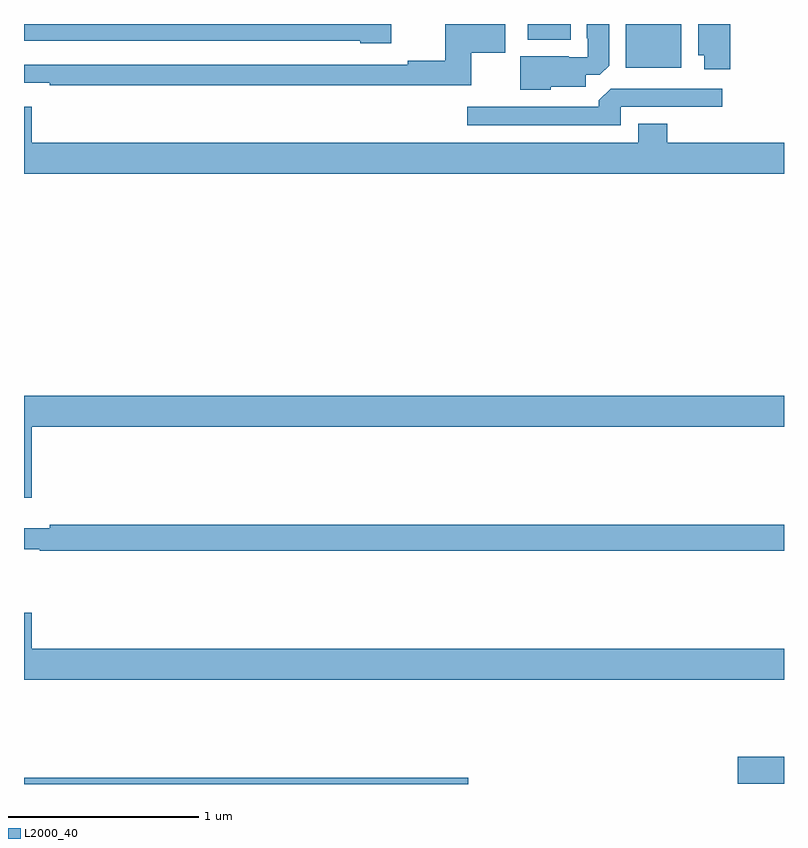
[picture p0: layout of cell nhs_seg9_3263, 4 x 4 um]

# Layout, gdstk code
import gdstk
lib = gdstk.Library(unit=1e-6, precision=1e-09)
def R(c, l, rs):  # rectangles x0, y0, x1, y1
    for r in rs: c.add(gdstk.rectangle(r[:2], r[2:], *l))
def P(c, l, *ps):  # polygons
    for p in ps: c.add(gdstk.Polygon(p, *l))
L2000_40 = (2000, 40)

nhs_seg9_3263 = lib.new_cell('nhs_seg9_3263')
R(nhs_seg9_3263, L2000_40, [(297,1234.5,299.338,1234.532), (300.756,1234.502,301,1234.644), (300.167,1238.27,300.46,1238.5), (299.651,1238.417,299.878,1238.5)])
P(nhs_seg9_3263, L2000_40, [(300.716,1238.5),(300.548,1238.5),(300.548,1238.336),(300.581,1238.336),(300.581,1238.262),(300.716,1238.262)],
  [(299.353,1238.348),(299.533,1238.348),(299.533,1238.5),(299.218,1238.5),(299.218,1238.306),(299.02,1238.306),(299.02,1238.286),(297,1238.286),(297,1238.19),(297.136,1238.19),(297.136,1238.178),(299.353,1238.178)],
  [(298.932,1238.5),(297,1238.5),(297,1238.412),(298.77,1238.412),(298.77,1238.399),(298.932,1238.399)],
  [(299.772,1238.171),(299.956,1238.171),(299.956,1238.232),(300.03,1238.232),(300.079,1238.281),(300.079,1238.5),(299.963,1238.5),(299.963,1238.425),(299.967,1238.425),(299.967,1238.325),(299.867,1238.325),(299.867,1238.329),(299.612,1238.329),(299.612,1238.153),(299.772,1238.153)],
  [(300.141,1238.064),(300.676,1238.064),(300.676,1238.16),(300.087,1238.16),(300.026,1238.098),(300.026,1238.064),(299.334,1238.064),(299.334,1237.968),(300.141,1237.968)],
  [(301,1237.876),(300.386,1237.876),(300.386,1237.975),(300.233,1237.975),(300.233,1237.876),(297.04,1237.876),(297.04,1238.065),(297,1238.065),(297,1237.712),(301,1237.712)],
  [(297.04,1236.38),(301,1236.38),(301,1236.544),(297,1236.544),(297,1236.006),(297.04,1236.006)],
  [(301,1235.864),(297.136,1235.864),(297.136,1235.845),(297,1235.845),(297,1235.736),(297.082,1235.736),(297.082,1235.728),(301,1235.728)],
  [(301,1235.212),(297.04,1235.212),(297.04,1235.401),(297,1235.401),(297,1235.048),(301,1235.048)])

lib.write_gds('nhs_seg9_3263.gds')
